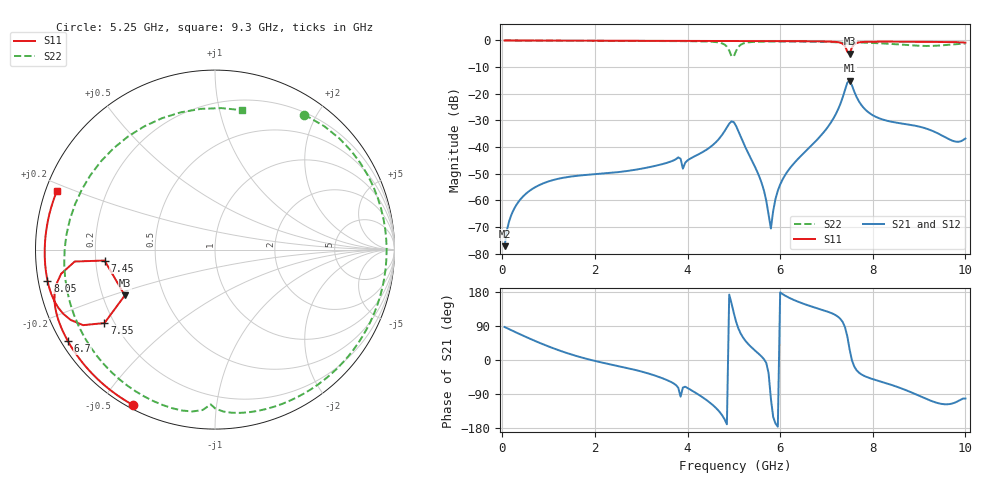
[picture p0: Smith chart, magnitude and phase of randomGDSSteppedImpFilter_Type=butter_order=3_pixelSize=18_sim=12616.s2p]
! freq	dB(S11)	phase(S11)	dB(S12)	phase(S12)
!  dB(S21)	phase(S21)	dB(S22)	phase(S22)
!S-par simulation data
#  GHz  S  DB  R 50
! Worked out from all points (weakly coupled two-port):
!   200 points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, 50 MHz to 10 GHz, reference 50 ohm
!   highest |S21| = -15.08 dB at 7.5 GHz (marker M1); lowest = -77.2 dB at 50 MHz (marker M2)
!   lowest |S11| = -5.0 dB at 7.5 GHz (marker M3), VSWR 3.59, Z = 14.7 - j11 ohm
!   |S11| at or under -10 dB: nowhere
!   |S22| runs from -6.0 to 0.0 dB; largest |S21 - S12| = 0
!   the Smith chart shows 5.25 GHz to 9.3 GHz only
!   S11 on the Smith chart (normalised r, x): 5.25 GHz: 0.01, -0.60; 6.7 GHz: 0.02, -0.29; 7.45 GHz: 0.24, -0.05; 7.55 GHz: 0.16, -0.29; 8.05 GHz: 0.03, -0.09; 9.3 GHz: 0.03, +0.18
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0.05  -0.00 -1.2  -77.18 87.1  -77.18 87.1  -0.00 -4.7
0.3  -0.01 -7.3  -61.80 72.6  -61.80 72.6  -0.04 -27.6
0.85  -0.03 -20.6  -53.85 43.0  -53.85 43.0  -0.09 -75.4
1.75  -0.05 -42.0  -50.54 5.3  -50.54 5.3  -0.15 -142.8
2.5  -0.07 -59.2  -49.40 -16.0  -49.40 -16.0  -0.17 169.0
3.4  -0.10 -79.1  -46.64 -45.5  -46.64 -45.5  -0.22 114.3
4.15  -0.13 -95.0  -43.48 -84.8  -43.48 -84.8  -0.30 66.0
4.7  -0.16 -106.5  -36.48 -138.2  -36.48 -138.2  -0.85 11.2
4.9  -0.17 -110.6  -31.21 172.7  -31.21 172.7  -3.80 -61.0
5.05  -0.18 -113.6  -32.13 100.3  -32.13 100.3  -3.87 129.1
5.25  -0.18 -117.7  -40.11 50.7  -40.11 50.7  -0.90 56.5
5.8  -0.22 -128.9  -70.56 -102.0  -70.56 -102.0  -0.39 3.1
6.05  -0.24 -134.1  -52.24 174.1  -52.24 174.1  -0.39 -12.8
6.7  -0.31 -148.1  -38.98 140.3  -38.98 140.3  -0.47 -49.9
7.45  -4.18 -174.3  -15.85 62.4  -15.85 62.4  -1.28 -91.6
7.5  -4.98 -153.1  -15.08 27.8  -15.08 27.8  -1.23 -92.0
7.55  -2.62 -146.4  -16.85 -0.7  -16.85 -0.7  -0.95 -94.4
8.05  -0.45 -169.5  -28.53 -52.4  -28.53 -52.4  -0.97 -130.1
8.35  -0.45 -177.2  -30.31 -63.6  -30.31 -63.6  -1.25 -154.9
8.85  -0.49 170.8  -31.77 -86.3  -31.77 -86.3  -1.85 149.1
9.3  -0.54 159.5  -34.01 -109.6  -34.01 -109.6  -2.03 79.1
10  -0.83 136.9  -36.80 -101.7  -36.80 -101.7  -1.16 -22.2
